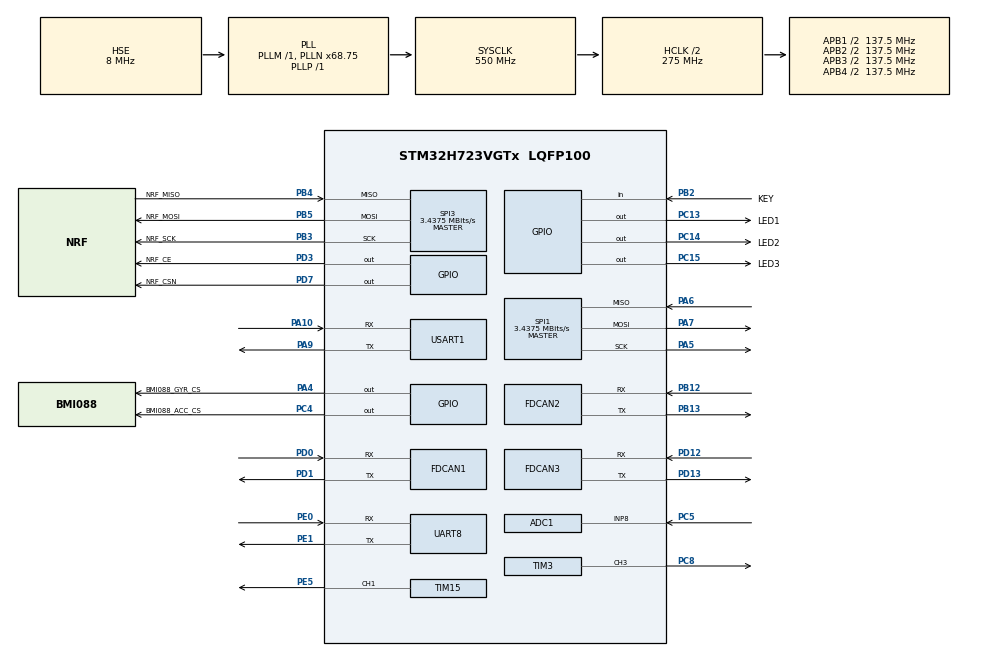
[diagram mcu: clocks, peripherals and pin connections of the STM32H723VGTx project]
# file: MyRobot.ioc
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ADC1.Channel-3\#ChannelRegularConversion=ADC_CHANNEL_8
ADC1.ClockPrescaler=ADC_CLOCK_ASYNC_DIV8
ADC1.ContinuousConvMode=ENABLE
ADC1.ConversionDataManagement=ADC_CONVERSIONDATA_DMA_CIRCULAR
ADC1.EnableRegularConversion=ENABLE
ADC1.NbrOfConversionFlag=1
ADC1.OffsetNumber-3\#ChannelRegularConversion=ADC_OFFSET_NONE
ADC1.Rank-3\#ChannelRegularConversion=1
ADC1.Resolution=ADC_RESOLUTION_12B
ADC1.SamplingTime-3\#ChannelRegularConversion=ADC_SAMPLETIME_387CYCLES_5
ADC1.master=1
CORTEX_M7.default_mode_Activation=1
Dma.ADC1.2.Direction=DMA_PERIPH_TO_MEMORY
Dma.ADC1.2.EventEnable=DISABLE
Dma.ADC1.2.FIFOMode=DMA_FIFOMODE_DISABLE
Dma.ADC1.2.Instance=DMA1_Stream2
Dma.ADC1.2.MemDataAlignment=DMA_MDATAALIGN_HALFWORD
Dma.ADC1.2.MemInc=DMA_MINC_ENABLE
Dma.ADC1.2.Mode=DMA_CIRCULAR
Dma.ADC1.2.PeriphDataAlignment=DMA_PDATAALIGN_HALFWORD
Dma.ADC1.2.PeriphInc=DMA_PINC_DISABLE
Dma.ADC1.2.Polarity=HAL_DMAMUX_REQ_GEN_RISING
Dma.ADC1.2.Priority=DMA_PRIORITY_LOW
Dma.ADC1.2.RequestNumber=1
Dma.ADC1.2.SignalID=NONE
Dma.ADC1.2.SyncEnable=DISABLE
Dma.ADC1.2.SyncPolarity=HAL_DMAMUX_SYNC_NO_EVENT
Dma.ADC1.2.SyncRequestNumber=1
Dma.ADC1.2.SyncSignalID=NONE
Dma.Request0=USART1_RX
Dma.Request1=USART1_TX
Dma.Request2=ADC1
Dma.Request3=UART8_RX
Dma.Request4=UART8_TX
Dma.UART8_RX.3.Direction=DMA_PERIPH_TO_MEMORY
Dma.UART8_RX.3.EventEnable=DISABLE
Dma.UART8_RX.3.FIFOMode=DMA_FIFOMODE_DISABLE
Dma.UART8_RX.3.Instance=DMA1_Stream3
Dma.UART8_RX.3.MemDataAlignment=DMA_MDATAALIGN_BYTE
Dma.UART8_RX.3.MemInc=DMA_MINC_ENABLE
Dma.UART8_RX.3.Mode=DMA_NORMAL
Dma.UART8_RX.3.PeriphDataAlignment=DMA_PDATAALIGN_BYTE
Dma.UART8_RX.3.PeriphInc=DMA_PINC_DISABLE
Dma.UART8_RX.3.Polarity=HAL_DMAMUX_REQ_GEN_RISING
Dma.UART8_RX.3.Priority=DMA_PRIORITY_LOW
Dma.UART8_RX.3.RequestNumber=1
Dma.UART8_RX.3.SignalID=NONE
Dma.UART8_RX.3.SyncEnable=DISABLE
Dma.UART8_RX.3.SyncPolarity=HAL_DMAMUX_SYNC_NO_EVENT
Dma.UART8_RX.3.SyncRequestNumber=1
Dma.UART8_RX.3.SyncSignalID=NONE
Dma.UART8_TX.4.Direction=DMA_MEMORY_TO_PERIPH
Dma.UART8_TX.4.EventEnable=DISABLE
Dma.UART8_TX.4.FIFOMode=DMA_FIFOMODE_DISABLE
Dma.UART8_TX.4.Instance=DMA1_Stream4
Dma.UART8_TX.4.MemDataAlignment=DMA_MDATAALIGN_BYTE
Dma.UART8_TX.4.MemInc=DMA_MINC_ENABLE
Dma.UART8_TX.4.Mode=DMA_NORMAL
Dma.UART8_TX.4.PeriphDataAlignment=DMA_PDATAALIGN_BYTE
Dma.UART8_TX.4.PeriphInc=DMA_PINC_DISABLE
Dma.UART8_TX.4.Polarity=HAL_DMAMUX_REQ_GEN_RISING
Dma.UART8_TX.4.Priority=DMA_PRIORITY_LOW
Dma.UART8_TX.4.RequestNumber=1
Dma.UART8_TX.4.SignalID=NONE
Dma.UART8_TX.4.SyncEnable=DISABLE
Dma.UART8_TX.4.SyncPolarity=HAL_DMAMUX_SYNC_NO_EVENT
Dma.UART8_TX.4.SyncRequestNumber=1
Dma.UART8_TX.4.SyncSignalID=NONE
Dma.USART1_RX.0.Direction=DMA_PERIPH_TO_MEMORY
Dma.USART1_RX.0.EventEnable=DISABLE
Dma.USART1_RX.0.FIFOMode=DMA_FIFOMODE_DISABLE
Dma.USART1_RX.0.Instance=DMA1_Stream0
Dma.USART1_RX.0.MemDataAlignment=DMA_MDATAALIGN_BYTE
Dma.USART1_RX.0.MemInc=DMA_MINC_ENABLE
Dma.USART1_RX.0.Mode=DMA_NORMAL
Dma.USART1_RX.0.PeriphDataAlignment=DMA_PDATAALIGN_BYTE
Dma.USART1_RX.0.PeriphInc=DMA_PINC_DISABLE
Dma.USART1_RX.0.Polarity=HAL_DMAMUX_REQ_GEN_RISING
Dma.USART1_RX.0.Priority=DMA_PRIORITY_LOW
Dma.USART1_RX.0.RequestNumber=1
Dma.USART1_RX.0.SignalID=NONE
Dma.USART1_RX.0.SyncEnable=DISABLE
Dma.USART1_RX.0.SyncPolarity=HAL_DMAMUX_SYNC_NO_EVENT
Dma.USART1_RX.0.SyncRequestNumber=1
Dma.USART1_RX.0.SyncSignalID=NONE
Dma.USART1_TX.1.Direction=DMA_MEMORY_TO_PERIPH
Dma.USART1_TX.1.EventEnable=DISABLE
Dma.USART1_TX.1.FIFOMode=DMA_FIFOMODE_DISABLE
Dma.USART1_TX.1.Instance=DMA1_Stream1
Dma.USART1_TX.1.MemDataAlignment=DMA_MDATAALIGN_BYTE
Dma.USART1_TX.1.MemInc=DMA_MINC_ENABLE
Dma.USART1_TX.1.Mode=DMA_NORMAL
Dma.USART1_TX.1.PeriphDataAlignment=DMA_PDATAALIGN_BYTE
Dma.USART1_TX.1.PeriphInc=DMA_PINC_DISABLE
Dma.USART1_TX.1.Polarity=HAL_DMAMUX_REQ_GEN_RISING
Dma.USART1_TX.1.Priority=DMA_PRIORITY_LOW
Dma.USART1_TX.1.RequestNumber=1
Dma.USART1_TX.1.SignalID=NONE
Dma.USART1_TX.1.SyncEnable=DISABLE
Dma.USART1_TX.1.SyncPolarity=HAL_DMAMUX_SYNC_NO_EVENT
Dma.USART1_TX.1.SyncRequestNumber=1
Dma.USART1_TX.1.SyncSignalID=NONE
FDCAN1.AutoRetransmission=ENABLE
FDCAN1.CalculateBaudRateNominal=999999
FDCAN1.CalculateTimeBitNominal=1000
FDCAN1.CalculateTimeQuantumNominal=200.00000000000003
FDCAN1.NominalPrescaler=22
FDCAN1.NominalTimeSeg1=2
FDCAN1.NominalTimeSeg2=2
FDCAN1.RxFifo0ElmtsNbr=8
FDCAN1.StdFiltersNbr=1
FDCAN1.TxFifoQueueElmtsNbr=32
FDCAN2.AutoRetransmission=ENABLE
FDCAN2.CalculateBaudRateNominal=999999
FDCAN2.CalculateTimeBitNominal=1000
FDCAN2.CalculateTimeQuantumNominal=200.00000000000003
FDCAN2.MessageRAMOffset=256
FDCAN2.NominalPrescaler=22
FDCAN2.NominalTimeSeg1=2
FDCAN2.NominalTimeSeg2=2
FDCAN2.RxFifo0ElmtsNbr=8
FDCAN2.StdFiltersNbr=1
FDCAN2.TxFifoQueueElmtsNbr=32
FDCAN3.AutoRetransmission=ENABLE
FDCAN3.CalculateBaudRateNominal=999999
FDCAN3.CalculateTimeBitNominal=1000
FDCAN3.CalculateTimeQuantumNominal=200.00000000000003
FDCAN3.NominalPrescaler=22
FDCAN3.NominalTimeSeg1=2
FDCAN3.NominalTimeSeg2=2
FDCAN3.RxFifo0ElmtsNbr=8
FDCAN3.StdFiltersNbr=1
FDCAN3.TxFifoQueueElmtsNbr=32
Mcu.Family=STM32H7
Mcu.Name=STM32H723VGTx
Mcu.Package=LQFP100
NVIC.DMA1_Stream0_IRQn=true\:0\:0\:false\:false\:true\:false\:true\:true
NVIC.DMA1_Stream1_IRQn=true\:0\:0\:false\:false\:true\:false\:true\:true
NVIC.DMA1_Stream2_IRQn=true\:0\:0\:false\:false\:true\:false\:true\:true
NVIC.DMA1_Stream3_IRQn=true\:0\:0\:false\:false\:true\:false\:true\:true
NVIC.DMA1_Stream4_IRQn=true\:0\:0\:false\:false\:true\:false\:true\:true
NVIC.FDCAN1_IT0_IRQn=true\:6\:0\:true\:false\:true\:true\:true\:true
NVIC.FDCAN2_IT0_IRQn=true\:6\:0\:true\:false\:true\:true\:true\:true
NVIC.FDCAN3_IT0_IRQn=true\:6\:0\:true\:false\:true\:true\:true\:true
NVIC.PriorityGroup=NVIC_PRIORITYGROUP_4
NVIC.TIM6_DAC_IRQn=true\:15\:0\:false\:false\:true\:false\:true\:true
NVIC.TimeBase=TIM6_DAC_IRQn
NVIC.TimeBaseIP=TIM6
NVIC.UART8_IRQn=true\:6\:0\:true\:false\:true\:true\:true\:true
NVIC.USART1_IRQn=true\:6\:0\:true\:false\:true\:true\:true\:true
PA10.Mode=Asynchronous
PA10.Signal=USART1_RX
PA4.GPIO_Label=BMI088_GYR_CS
PA4.PinState=GPIO_PIN_SET
PA4.Signal=GPIO_Output
PA5.Mode=Full_Duplex_Master
PA5.Signal=SPI1_SCK
PA6.Mode=Full_Duplex_Master
PA6.Signal=SPI1_MISO
PA7.Mode=Full_Duplex_Master
PA7.Signal=SPI1_MOSI
PA9.Mode=Asynchronous
PA9.Signal=USART1_TX
PB12.Mode=FDCAN_Activate
PB12.Signal=FDCAN2_RX
PB13.Mode=FDCAN_Activate
PB13.Signal=FDCAN2_TX
PB2.GPIO_Label=KEY
PB2.Signal=GPIO_Input
PB3(JTDO/TRACESWO).GPIO_Label=NRF_SCK
PB3(JTDO/TRACESWO).Mode=Full_Duplex_Master
PB3(JTDO/TRACESWO).Signal=SPI3_SCK
PB4(NJTRST).GPIO_Label=NRF_MISO
PB4(NJTRST).Mode=Full_Duplex_Master
PB4(NJTRST).Signal=SPI3_MISO
PB5.GPIO_Label=NRF_MOSI
PB5.Mode=Full_Duplex_Master
PB5.Signal=SPI3_MOSI
PC13.GPIO_Label=LED1
PC13.PinState=GPIO_PIN_SET
PC13.Signal=GPIO_Output
PC14-OSC32_IN.GPIO_Label=LED2
PC14-OSC32_IN.PinState=GPIO_PIN_SET
PC14-OSC32_IN.Signal=GPIO_Output
PC15-OSC32_OUT.GPIO_Label=LED3
PC15-OSC32_OUT.PinState=GPIO_PIN_SET
PC15-OSC32_OUT.Signal=GPIO_Output
PC4.GPIO_Label=BMI088_ACC_CS
PC4.PinState=GPIO_PIN_SET
PC4.Signal=GPIO_Output
PC5.Signal=ADCx_INP8
PC8.Signal=S_TIM3_CH3
PD0.Mode=FDCAN_Activate
PD0.Signal=FDCAN1_RX
PD1.Mode=FDCAN_Activate
PD1.Signal=FDCAN1_TX
PD12.Mode=FDCAN_Activate
PD12.Signal=FDCAN3_RX
PD13.Mode=FDCAN_Activate
PD13.Signal=FDCAN3_TX
PD3.GPIO_Label=NRF_CE
PD3.Signal=GPIO_Output
PD7.GPIO_Label=NRF_CSN
PD7.Signal=GPIO_Output
PE0.Mode=Asynchronous
PE0.Signal=UART8_RX
PE1.Mode=Asynchronous
PE1.Signal=UART8_TX
PE5.Signal=S_TIM15_CH1
PH0-OSC_IN.Mode=HSE-External-Oscillator
PH0-OSC_IN.Signal=RCC_OSC_IN
PH1-OSC_OUT.Mode=HSE-External-Oscillator
PH1-OSC_OUT.Signal=RCC_OSC_OUT
ProjectManager.HeapSize=0x200
ProjectManager.StackSize=0x400
ProjectManager.TargetToolchain=MDK-ARM V5.32
RCC.ADCFreq_Value=120000000
RCC.APB1Freq_Value=137500000
RCC.APB2Freq_Value=137500000
RCC.APB3Freq_Value=137500000
RCC.APB4Freq_Value=137500000
RCC.CortexFreq_Value=550000000
RCC.D1PPRE=RCC_APB3_DIV2
RCC.D2PPRE1=RCC_APB1_DIV2
RCC.D2PPRE2=RCC_APB2_DIV2
RCC.D3PPRE=RCC_APB4_DIV2
RCC.DIVM1=1
RCC.DIVM2=1
RCC.DIVN1=68
RCC.DIVN2=30
RCC.DIVP1=1
RCC.DIVQ1=5
RCC.HCLKFreq_Value=275000000
RCC.HPRE=RCC_HCLK_DIV2
RCC.HSE_VALUE=8000000
RCC.PLLFRACN=6144
RCC.PLLSourceVirtual=RCC_PLLSOURCE_HSE
RCC.SYSCLKFreq_VALUE=550000000
RCC.SYSCLKSource=RCC_SYSCLKSOURCE_PLLCLK
RCC.USBFreq_Value=110000000
SH.ADCx_INP8.0=ADC1_INP8,IN8-Single-Ended
SH.S_TIM15_CH1.0=TIM15_CH1,PWM Generation1 CH1
SH.S_TIM3_CH3.0=TIM3_CH3,PWM Generation3 CH3
SPI1.BaudRatePrescaler=SPI_BAUDRATEPRESCALER_32
SPI1.CLKPhase=SPI_PHASE_2EDGE
SPI1.CLKPolarity=SPI_POLARITY_HIGH
SPI1.CalculateBaudRate=3.4375 MBits/s
SPI1.DataSize=SPI_DATASIZE_8BIT
SPI1.Direction=SPI_DIRECTION_2LINES
SPI1.Mode=SPI_MODE_MASTER
SPI1.NSSPMode=SPI_NSS_PULSE_DISABLE
SPI1.VirtualType=VM_MASTER
SPI3.BaudRatePrescaler=SPI_BAUDRATEPRESCALER_32
SPI3.CalculateBaudRate=3.4375 MBits/s
SPI3.DataSize=SPI_DATASIZE_8BIT
SPI3.Direction=SPI_DIRECTION_2LINES
SPI3.MasterKeepIOState=SPI_MASTER_KEEP_IO_STATE_DISABLE
SPI3.Mode=SPI_MODE_MASTER
SPI3.NSSPMode=SPI_NSS_PULSE_DISABLE
SPI3.VirtualType=VM_MASTER
TIM15.Channel-PWM\ Generation1\ CH1=TIM_CHANNEL_1
TIM15.Period=249
TIM15.Prescaler=274
TIM15.Pulse-PWM\ Generation1\ CH1=125
TIM3.Channel-PWM\ Generation3\ CH3=TIM_CHANNEL_3
TIM3.Period=999
TIM3.Prescaler=274
USART1.VirtualMode-Asynchronous=VM_ASYNC
VP_MEMORYMAP_VS_MEMORYMAP.Mode=CurAppReg
VP_SYS_VS_tim6.Mode=TIM6
VP_TIM15_VS_ClockSourceINT.Mode=Internal
VP_TIM3_VS_ClockSourceINT.Mode=Internal
board=custom

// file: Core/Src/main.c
/* USER CODE BEGIN Header */
/**
  ******************************************************************************
  * @file           : main.c
  * @brief          : Main program body
  ******************************************************************************
  * @attention
  *
  * Copyright (c) 2026 STMicroelectronics.
  * All rights reserved.
  *
  * This software is licensed under terms that can be found in the LICENSE file
  * in the root directory of this software component.
  * If no LICENSE file comes with this software, it is provided AS-IS.
  *
  ******************************************************************************
  */
/* USER CODE END Header */
#include "main.h"
#include "adc.h"
#include "dma.h"
#include "fdcan.h"
#include "spi.h"
#include "tim.h"
#include "usart.h"
#include "gpio.h"

/* USER CODE BEGIN Includes */
#include "FreeRTOS.h"
#include "task.h"
#include "semphr.h"
#include "queue.h"
#include "timers.h"
#include "event_groups.h"

#include <stdio.h>
#include <string.h>

#include "imu_task.h"
#include "service_task.h"
#include "log_task.h"
#include "remote_task.h"
#include "can_task.h"
#include "vbus_task.h"
#include "control_task.h"
/* USER CODE END Includes */

/* USER CODE BEGIN PV */
MotorData_TypeDef motordata = {0};
/* binarysemaphore */
SemaphoreHandle_t xBuzzerSemphr = NULL;
/* mutex */
SemaphoreHandle_t xCanTxMutex = NULL;
/* queue */
QueueHandle_t xSerialQueue = NULL;
QueueHandle_t xIMUQueue = NULL;
QueueHandle_t xMotorQueue = NULL;
QueueHandle_t xVbusQueue = NULL;
QueueHandle_t xRemoteQueue = NULL;
/* softtimer */
TimerHandle_t xLEDTimer = NULL;
/* eventgroup */
EventGroupHandle_t xEventGroup = NULL;
/* task */
TaskHandle_t MotorCanTaskHandle = NULL;
TaskHandle_t UpperCanTaskHandle = NULL;
/* USER CODE END PV */

void SystemClock_Config(void);
static void MPU_Config(void);

int main(void)
{

  /* MPU Configuration--------------------------------------------------------*/
  MPU_Config();

  /* MCU Configuration--------------------------------------------------------*/

  /* Reset of all peripherals, Initializes the Flash interface and the Systick. */
  HAL_Init();

  /* Configure the system clock */
  SystemClock_Config();

  /* Initialize all configured peripherals */
  MX_GPIO_Init();
  MX_DMA_Init();
  MX_USART1_UART_Init();
  MX_TIM15_Init();
  MX_SPI1_Init();
  MX_ADC1_Init();
  MX_FDCAN1_Init();
  MX_FDCAN2_Init();
  MX_FDCAN3_Init();
  MX_TIM3_Init();
  MX_SPI3_Init();
  MX_UART8_Init();
  /* USER CODE BEGIN 2 */
  /* binarysemaphore create */
  xBuzzerSemphr = xSemaphoreCreateBinary();
  configASSERT(xBuzzerSemphr != NULL);
  /* mutex create */
  xCanTxMutex = xSemaphoreCreateMutex();
  configASSERT(xCanTxMutex != NULL);
  /* queue create */
  xSerialQueue = xQueueCreate(10,sizeof(char *));
  configASSERT(xSerialQueue != NULL);
  xIMUQueue = xQueueCreate(1, sizeof(IMUData_TypeDef));
  configASSERT(xIMUQueue != NULL);
  xMotorQueue = xQueueCreate(1, sizeof(MotorData_TypeDef));
  configASSERT(xMotorQueue != NULL);
  xVbusQueue = xQueueCreate(1, sizeof(float));
  configASSERT(xVbusQueue != NULL);
  xRemoteQueue = xQueueCreate(1, sizeof(RemoteData_t));
  configASSERT(xRemoteQueue != NULL);
  /* softtimer create*/
  xLEDTimer = xTimerCreate("LEDTimer",pdMS_TO_TICKS(2000),pdFALSE,NULL,vTimerCallback);
  configASSERT(xLEDTimer != NULL);
  /* eventgroup create */
  xEventGroup = xEventGroupCreate();
  configASSERT(xEventGroup != NULL);
  /* task create */
  BaseType_t xReturn;

  xReturn = xTaskCreate(vKeyTask,"KeyTask",128,NULL,2,NULL);
  configASSERT(xReturn == pdPASS);

  xReturn = xTaskCreate(vLED1Task,"LED1Task",128,NULL,1,NULL);
  configASSERT(xReturn == pdPASS);

  xReturn = xTaskCreate(vLED2Task,"LED2Task",128,NULL,1,NULL);
  configASSERT(xReturn == pdPASS);

  xReturn = xTaskCreate(vSerialGateKeeperTask,"SerialGateKeeperTask",128,NULL,2,NULL);
  configASSERT(xReturn == pdPASS);

  xReturn = xTaskCreate(vBuzzerTask,"BuzzerTask",128,NULL,2,NULL);
  configASSERT(xReturn == pdPASS);

  xReturn = xTaskCreate(vIMUTask,"IMUTask",128,NULL,2,NULL);
  configASSERT(xReturn == pdPASS);

  xReturn = xTaskCreate(vLOGTask, "LogTask", 512, NULL, 1, NULL);
  configASSERT(xReturn == pdPASS);

  // xReturn = xTaskCreate(vSerialReceiveTask, "SerialReceive", 128, NULL, 2, NULL);
  // configASSERT(xReturn == pdPASS);

  xReturn = xTaskCreate(vRemoteTask, "RemoteTask", 256, NULL, 3, NULL);
  configASSERT(xReturn == pdPASS);

  xReturn = xTaskCreate(vVbusTask, "VbusTask", 128, NULL, 1, NULL);
  configASSERT(xReturn == pdPASS);

  xReturn = xTaskCreate(vMotorCanTask, "MotorCanTask", 256, NULL, 1, &MotorCanTaskHandle);
  configASSERT(xReturn == pdPASS);

  xReturn = xTaskCreate(vUpperCanTask, "UpperCanTask", 256, NULL, 2, &UpperCanTaskHandle);
  configASSERT(xReturn == pdPASS);

  xReturn = xTaskCreate(vControlLegTask, "ControlLegTask", 256, NULL, 2, NULL);
  configASSERT(xReturn == pdPASS);

  xReturn = xTaskCreate(vControlWheelTask, "ControlWheelTask", 256, NULL, 2, NULL);
  configASSERT(xReturn == pdPASS);

  vTaskStartScheduler();
  /* USER CODE END 2 */

  /* Infinite loop */
  while (1)
  {

  }
}

void SystemClock_Config(void)
{
  RCC_OscInitTypeDef RCC_OscInitStruct = {0};
  RCC_ClkInitTypeDef RCC_ClkInitStruct = {0};

  /** Supply configuration update enable
  */
  HAL_PWREx_ConfigSupply(PWR_LDO_SUPPLY);

  /** Configure the main internal regulator output voltage
  */
  __HAL_PWR_VOLTAGESCALING_CONFIG(PWR_REGULATOR_VOLTAGE_SCALE0);

  while(!__HAL_PWR_GET_FLAG(PWR_FLAG_VOSRDY)) {}

  /** Initializes the RCC Oscillators according to the specified parameters
  * in the RCC_OscInitTypeDef structure.
  */
  RCC_OscInitStruct.OscillatorType = RCC_OSCILLATORTYPE_HSE;
  RCC_OscInitStruct.HSEState = RCC_HSE_ON;
  RCC_OscInitStruct.PLL.PLLState = RCC_PLL_ON;
  RCC_OscInitStruct.PLL.PLLSource = RCC_PLLSOURCE_HSE;
  RCC_OscInitStruct.PLL.PLLM = 1;
  RCC_OscInitStruct.PLL.PLLN = 68;
  RCC_OscInitStruct.PLL.PLLP = 1;
  RCC_OscInitStruct.PLL.PLLQ = 5;
  RCC_OscInitStruct.PLL.PLLR = 2;
  RCC_OscInitStruct.PLL.PLLRGE = RCC_PLL1VCIRANGE_3;
  RCC_OscInitStruct.PLL.PLLVCOSEL = RCC_PLL1VCOWIDE;
  RCC_OscInitStruct.PLL.PLLFRACN = 6144;
  if (HAL_RCC_OscConfig(&RCC_OscInitStruct) != HAL_OK)
  {
    Error_Handler();
  }

  /** Initializes the CPU, AHB and APB buses clocks
  */
  RCC_ClkInitStruct.ClockType = RCC_CLOCKTYPE_HCLK|RCC_CLOCKTYPE_SYSCLK
                              |RCC_CLOCKTYPE_PCLK1|RCC_CLOCKTYPE_PCLK2
                              |RCC_CLOCKTYPE_D3PCLK1|RCC_CLOCKTYPE_D1PCLK1;
  RCC_ClkInitStruct.SYSCLKSource = RCC_SYSCLKSOURCE_PLLCLK;
  RCC_ClkInitStruct.SYSCLKDivider = RCC_SYSCLK_DIV1;
  RCC_ClkInitStruct.AHBCLKDivider = RCC_HCLK_DIV2;
  RCC_ClkInitStruct.APB3CLKDivider = RCC_APB3_DIV2;
  RCC_ClkInitStruct.APB1CLKDivider = RCC_APB1_DIV2;
  RCC_ClkInitStruct.APB2CLKDivider = RCC_APB2_DIV2;
  RCC_ClkInitStruct.APB4CLKDivider = RCC_APB4_DIV2;

  if (HAL_RCC_ClockConfig(&RCC_ClkInitStruct, FLASH_LATENCY_3) != HAL_OK)
  {
    Error_Handler();
  }
}

 /* MPU Configuration */

void MPU_Config(void)
{
  MPU_Region_InitTypeDef MPU_InitStruct = {0};

  /* Disables the MPU */
  HAL_MPU_Disable();

  /** Initializes and configures the Region and the memory to be protected
  */
  MPU_InitStruct.Enable = MPU_REGION_ENABLE;
  MPU_InitStruct.Number = MPU_REGION_NUMBER0;
  MPU_InitStruct.BaseAddress = 0x0;
  MPU_InitStruct.Size = MPU_REGION_SIZE_4GB;
  MPU_InitStruct.SubRegionDisable = 0x87;
  MPU_InitStruct.TypeExtField = MPU_TEX_LEVEL0;
  MPU_InitStruct.AccessPermission = MPU_REGION_NO_ACCESS;
  MPU_InitStruct.DisableExec = MPU_INSTRUCTION_ACCESS_DISABLE;
  MPU_InitStruct.IsShareable = MPU_ACCESS_SHAREABLE;
  MPU_InitStruct.IsCacheable = MPU_ACCESS_NOT_CACHEABLE;
  MPU_InitStruct.IsBufferable = MPU_ACCESS_NOT_BUFFERABLE;

  HAL_MPU_ConfigRegion(&MPU_InitStruct);
  /* Enables the MPU */
  HAL_MPU_Enable(MPU_PRIVILEGED_DEFAULT);

}

void HAL_TIM_PeriodElapsedCallback(TIM_HandleTypeDef *htim)
{
  if (htim->Instance == TIM6)
  {
    HAL_IncTick();
  }
}

void Error_Handler(void)
{
  __disable_irq();
  while (1)
  {
  }
}
